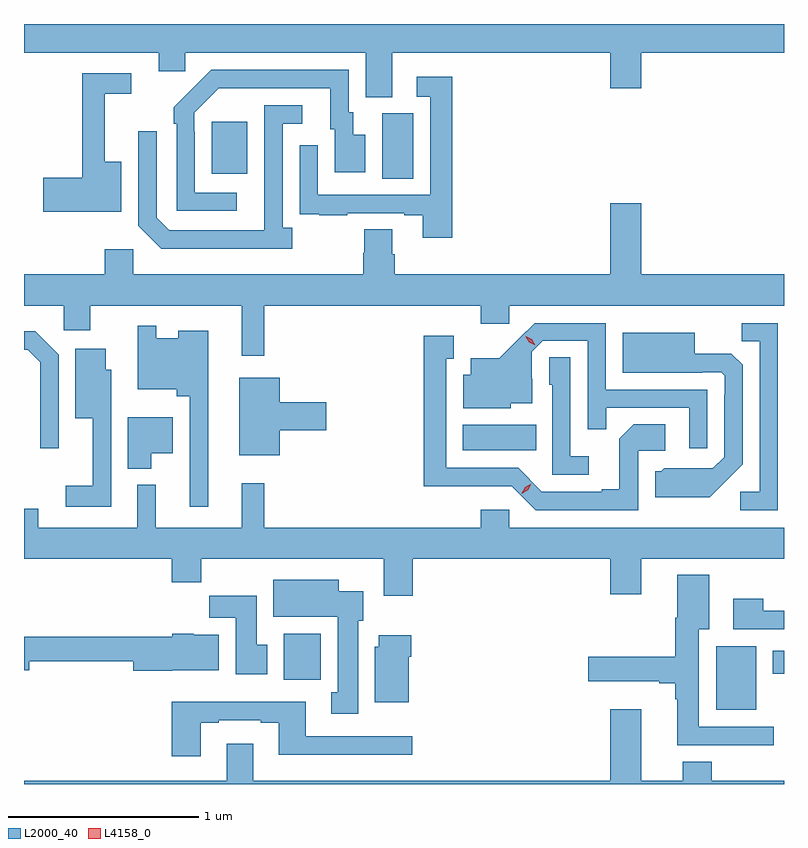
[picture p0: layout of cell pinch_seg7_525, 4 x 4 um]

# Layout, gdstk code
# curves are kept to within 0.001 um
import gdstk
lib = gdstk.Library(unit=1e-6, precision=1e-09)
def R(c, l, rs):  # rectangles x0, y0, x1, y1
    for r in rs: c.add(gdstk.rectangle(r[:2], r[2:], *l))
def P(c, l, *ps):  # polygons
    for p in ps: c.add(gdstk.Polygon(p, *l))
L2000_40 = (2000, 40)
L4158_0 = (4158, 0)

pinch_seg7_525 = lib.new_cell('pinch_seg7_525')
R(pinch_seg7_525, L2000_40, [(117.614,1061.093,117.826,1061.428), (115.337,1061.252,115.534,1061.494), (117.911,1061.282,117.971,1061.404), (116.279,1062.458,116.666,1062.592), (115.856,1063.888,116.02,1064.232), (114.959,1063.913,115.147,1064.188)])
P(pinch_seg7_525, L2000_40, [(115.909,1064.552),(117.056,1064.552),(117.056,1064.364),(117.22,1064.364),(117.22,1064.552),(117.971,1064.552),(117.971,1064.702),(113.971,1064.702),(113.971,1064.552),(114.68,1064.552),(114.68,1064.454),(114.819,1064.454),(114.819,1064.552),(115.769,1064.552),(115.769,1064.317),(115.909,1064.317)],
  [(115.09,1063.815),(114.87,1063.815),(114.87,1064.135),(114.867,1064.135),(114.867,1064.235),(114.996,1064.364),(115.583,1064.364),(115.583,1064.148),(115.607,1064.148),(115.607,1063.923),(115.768,1063.923),(115.768,1064.119),(115.705,1064.119),(115.705,1064.238),(115.68,1064.238),(115.68,1064.46),(114.956,1064.46),(114.759,1064.265),(114.759,1064.177),(114.774,1064.177),(114.774,1063.719),(115.09,1063.719)],
  [(114.484,1063.978),(114.395,1063.978),(114.395,1064.334),(114.535,1064.334),(114.535,1064.442),(114.277,1064.442),(114.277,1063.892),(114.072,1063.892),(114.072,1063.714),(114.484,1063.714)],
  [(116.225,1064.425),(116.037,1064.425),(116.037,1064.319),(116.109,1064.319),(116.109,1063.803),(115.518,1063.803),(115.518,1064.065),(115.422,1064.065),(115.422,1063.81),(115.423,1063.81),(115.423,1063.701),(115.525,1063.701),(115.525,1063.695),(115.673,1063.695),(115.673,1063.707),(115.973,1063.707),(115.973,1063.695),(116.069,1063.695),(116.069,1063.578),(116.225,1063.578)],
  [(115.384,1063.63),(115.332,1063.63),(115.332,1064.178),(115.435,1064.178),(115.435,1064.274),(115.236,1064.274),(115.235,1063.617),(114.735,1063.617),(114.669,1063.683),(114.669,1064.137),(114.573,1064.137),(114.573,1063.641),(114.694,1063.52),(115.384,1063.52)],
  [(115.235,1063.22),(116.375,1063.22),(116.375,1063.125),(116.526,1063.125),(116.526,1063.22),(117.971,1063.22),(117.971,1063.384),(117.22,1063.384),(117.22,1063.759),(117.056,1063.759),(117.056,1063.384),(115.922,1063.384),(115.922,1063.49),(115.909,1063.49),(115.909,1063.622),(115.762,1063.622),(115.762,1063.497),(115.757,1063.497),(115.757,1063.384),(114.546,1063.384),(114.546,1063.516),(114.395,1063.516),(114.395,1063.384),(113.971,1063.384),(113.971,1063.22),(114.18,1063.22),(114.18,1063.089),(114.319,1063.089),(114.319,1063.22),(115.118,1063.22),(115.118,1062.957),(115.235,1062.957)],
  [(117.939,1063.128),(117.748,1063.128),(117.748,1063.033),(117.843,1063.033),(117.843,1062.24),(117.741,1062.24),(117.741,1062.144),(117.939,1062.144)],
  [(117.567,1062.777),(117.033,1062.777),(117.033,1063.128),(116.66,1063.128),(116.473,1062.943),(116.321,1062.943),(116.321,1062.856),(116.282,1062.856),(116.282,1062.68),(116.532,1062.68),(116.532,1062.707),(116.647,1062.707),(116.647,1062.836),(116.643,1062.836),(116.643,1062.978),(116.7,1063.035),(116.937,1063.035),(116.937,1062.568),(117.035,1062.568),(117.035,1062.681),(117.471,1062.681),(117.471,1062.468),(117.567,1062.468)],
  [(114.94,1063.087),(114.782,1063.087),(114.782,1063.048),(114.666,1063.048),(114.666,1063.114),(114.57,1063.114),(114.57,1062.779),(114.775,1062.779),(114.775,1062.743),(114.843,1062.743),(114.843,1062.162),(114.94,1062.162)],
  [(114.153,1062.961),(114.03,1063.084),(113.971,1063.084),(113.971,1062.987),(113.991,1062.987),(114.057,1062.921),(114.057,1062.468),(114.153,1062.468)],
  [(117.661,1062.293),(117.753,1062.386),(117.753,1062.908),(117.694,1062.967),(117.502,1062.967),(117.502,1063.078),(117.122,1063.078),(117.122,1062.866),(117.542,1062.866),(117.542,1062.87),(117.642,1062.87),(117.66,1062.852),(117.66,1062.752),(117.657,1062.752),(117.657,1062.423),(117.597,1062.363),(117.34,1062.364),(117.324,1062.348),(117.293,1062.348),(117.293,1062.212),(117.581,1062.212)],
  [(117.204,1062.456),(117.346,1062.456),(117.346,1062.596),(117.181,1062.596),(117.105,1062.52),(117.105,1062.253),(117.011,1062.253),(117.011,1062.24),(116.697,1062.24),(116.571,1062.366),(116.194,1062.366),(116.194,1062.939),(116.233,1062.939),(116.233,1063.06),(116.076,1063.06),(116.076,1062.269),(116.538,1062.27),(116.664,1062.144),(117.204,1062.144)],
  [(114.429,1062.883),(114.4,1062.883),(114.4,1062.994),(114.242,1062.994),(114.242,1062.626),(114.332,1062.626),(114.332,1062.271),(114.192,1062.271),(114.192,1062.162),(114.429,1062.162)],
  [(116.944,1062.427),(116.847,1062.427),(116.847,1062.947),(116.736,1062.947),(116.736,1062.804),(116.751,1062.804),(116.751,1062.33),(116.944,1062.33)],
  [(115.318,1062.563),(115.561,1062.563),(115.561,1062.71),(115.318,1062.71),(115.318,1062.841),(115.103,1062.841),(115.103,1062.431),(115.318,1062.431)],
  [(114.64,1062.443),(114.754,1062.443),(114.754,1062.631),(114.518,1062.631),(114.518,1062.362),(114.64,1062.362)],
  [(116.018,1061.888),(117.056,1061.888),(117.056,1061.7),(117.22,1061.7),(117.22,1061.888),(117.971,1061.888),(117.971,1062.052),(116.526,1062.052),(116.526,1062.145),(116.375,1062.145),(116.375,1062.052),(115.235,1062.052),(115.235,1062.286),(115.118,1062.286),(115.118,1062.052),(114.665,1062.052),(114.665,1062.277),(114.566,1062.277),(114.566,1062.052),(114.046,1062.052),(114.046,1062.15),(113.971,1062.15),(113.971,1061.888),(114.749,1061.888),(114.749,1061.764),(114.905,1061.764),(114.905,1061.888),(115.865,1061.888),(115.865,1061.694),(116.018,1061.694)],
  [(117.916,1061.004),(117.523,1061.004),(117.523,1061.516),(117.577,1061.516),(117.577,1061.803),(117.41,1061.803),(117.41,1061.576),(117.398,1061.576),(117.398,1061.373),(116.94,1061.373),(116.94,1061.243),(117.314,1061.243),(117.314,1061.231),(117.398,1061.231),(117.398,1061.147),(117.41,1061.147),(117.41,1060.907),(117.916,1060.907)],
  [(115.729,1061.562),(115.756,1061.562),(115.756,1061.716),(115.627,1061.716),(115.627,1061.776),(115.283,1061.776),(115.283,1061.582),(115.622,1061.582),(115.622,1061.186),(115.589,1061.186),(115.589,1061.073),(115.729,1061.073)],
  [(115.252,1061.436),(115.195,1061.436),(115.195,1061.694),(114.946,1061.694),(114.946,1061.576),(115.085,1061.576),(115.085,1061.28),(115.252,1061.28)],
  [(117.971,1061.613),(117.861,1061.613),(117.861,1061.677),(117.705,1061.677),(117.705,1061.517),(117.971,1061.517)],
  [(114.75,1061.3),(114.997,1061.3),(114.997,1061.488),(114.864,1061.488),(114.864,1061.494),(114.75,1061.494),(114.75,1061.476),(113.971,1061.476),(113.971,1061.3),(113.998,1061.3),(113.998,1061.347),(114.545,1061.347),(114.545,1061.297),(114.75,1061.297)],
  [(115.996,1061.372),(116.009,1061.372),(116.009,1061.485),(115.838,1061.485),(115.838,1061.424),(115.817,1061.424),(115.817,1061.132),(115.996,1061.132)],
  [(114.901,1061.025),(114.997,1061.025),(114.997,1061.037),(115.217,1061.037),(115.217,1061.025),(115.313,1061.025),(115.313,1060.856),(116.014,1060.856),(116.014,1060.953),(115.453,1060.953),(115.453,1061.134),(114.749,1061.134),(114.749,1060.848),(114.901,1060.848)],
  [(117.971,1060.72),(117.59,1060.72),(117.59,1060.819),(117.437,1060.819),(117.437,1060.72),(117.22,1060.72),(117.22,1061.095),(117.056,1061.095),(117.056,1060.72),(115.177,1060.72),(115.177,1060.915),(115.037,1060.915),(115.037,1060.72),(113.971,1060.72),(113.971,1060.702),(117.971,1060.702)])
P(pinch_seg7_525, L4158_0, [(116.592,1062.23),(116.592,1062.231),(116.609,1062.263),(116.641,1062.282),(116.641,1062.282),(116.641,1062.282),(116.624,1062.25),(116.592,1062.23)],
  [(116.661,1063.012),(116.63,1063.028),(116.613,1063.057),(116.613,1063.058),(116.613,1063.058),(116.644,1063.042),(116.661,1063.012),(116.661,1063.012)])

lib.write_gds('pinch_seg7_525.gds')
